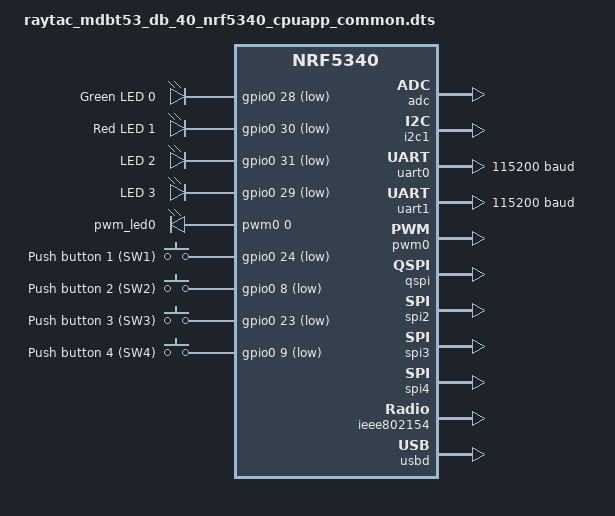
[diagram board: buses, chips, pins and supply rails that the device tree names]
/*
 * Copyright (c) 2023 Raytac Corporation
 *
 * SPDX-License-Identifier: Apache-2.0
 */
#include "raytac_mdbt53_db_40_nrf5340_cpuapp_common-pinctrl.dtsi"
#include <zephyr/dt-bindings/input/input-event-codes.h>

/ {

	chosen {
		zephyr,console = &uart0;
		zephyr,shell-uart = &uart0;
		zephyr,uart-mcumgr = &uart0;
		zephyr,bt-mon-uart = &uart0;
		zephyr,bt-c2h-uart = &uart0;
		zephyr,bt-hci-rpmsg-ipc = &ipc0;
		nordic,802154-spinel-ipc = &ipc0;
		zephyr,ieee802154 = &ieee802154;
	};

	leds {
		compatible = "gpio-leds";
		led0: led_0 {
			gpios = <&gpio0 28 GPIO_ACTIVE_LOW>;
			label = "Green LED 0";
		};
		led1: led_1 {
			gpios = <&gpio0 30 GPIO_ACTIVE_LOW>;
			label = "Red LED 1";
		};
		led2: led_2 {
			gpios = <&gpio0 31 GPIO_ACTIVE_LOW>;
			label = "LED 2";
		};
		led3: led_3 {
			gpios = <&gpio0 29 GPIO_ACTIVE_LOW>;
			label = "LED 3";
		};
	};

	pwmleds {
		compatible = "pwm-leds";
		pwm_led0: pwm_led_0 {
			pwms = <&pwm0 0 PWM_MSEC(20) PWM_POLARITY_INVERTED>;
		};
	};

	buttons {
		compatible = "gpio-keys";
		button0: button_0 {
			gpios = <&gpio0 24 (GPIO_PULL_UP | GPIO_ACTIVE_LOW)>;
			label = "Push button 1 (SW1)";
			zephyr,code = <INPUT_KEY_0>;
		};
		button1: button_1 {
			gpios = <&gpio0 8 (GPIO_PULL_UP | GPIO_ACTIVE_LOW)>;
			label = "Push button 2 (SW2)";
			zephyr,code = <INPUT_KEY_1>;
		};
		button2: button_2 {
			gpios = <&gpio0 23 (GPIO_PULL_UP | GPIO_ACTIVE_LOW)>;
			label = "Push button 3 (SW3)";
			zephyr,code = <INPUT_KEY_2>;
		};
		button3: button_3 {
			gpios = <&gpio0 9 (GPIO_PULL_UP | GPIO_ACTIVE_LOW)>;
			label = "Push button 4 (SW4)";
			zephyr,code = <INPUT_KEY_3>;
		};
	};

	gpio_fwd: nrf-gpio-forwarder {
		compatible = "nordic,nrf-gpio-forwarder";
		status = "okay";
		uart {
			gpios = <&gpio1 1 0>, <&gpio1 0 0>, <&gpio0 11 0>, <&gpio0 10 0>;
		};
	};

	/* These aliases are provided for compatibility with samples */
	aliases {
		led0 = &led0;
		led1 = &led1;
		led2 = &led2;
		led3 = &led3;
		pwm-led0 = &pwm_led0;
		sw0 = &button0;
		sw1 = &button1;
		sw2 = &button2;
		sw3 = &button3;
		bootloader-led0 = &led0;
		mcuboot-button0 = &button0;
		mcuboot-led0 = &led0;
		watchdog0 = &wdt0;
	};
};

&adc {
	status = "okay";
};

&gpiote {
	status = "okay";
};

&gpio0 {
	status = "okay";
};

&gpio1 {
	status = "okay";
};

&i2c1 {
	compatible = "nordic,nrf-twim";
	status = "okay";
	pinctrl-0 = <&i2c1_default>;
	pinctrl-1 = <&i2c1_sleep>;
	pinctrl-names = "default", "sleep";
};

&uart0 {
	status = "okay";
	current-speed = <115200>;
	pinctrl-0 = <&uart0_default>;
	pinctrl-1 = <&uart0_sleep>;
	pinctrl-names = "default", "sleep";
};

&uart1 {
	compatible = "nordic,nrf-uarte";
	current-speed = <115200>;
	pinctrl-0 = <&uart1_default>;
	pinctrl-1 = <&uart1_sleep>;
	pinctrl-names = "default", "sleep";
};

&pwm0 {
	status = "okay";
	pinctrl-0 = <&pwm0_default>;
	pinctrl-1 = <&pwm0_sleep>;
	pinctrl-names = "default", "sleep";
};

&qspi {
	status = "okay";
	pinctrl-0 = <&qspi_default>;
	pinctrl-1 = <&qspi_sleep>;
	pinctrl-names = "default", "sleep";
};

&spi2 {
	compatible = "nordic,nrf-spim";
	status = "okay";
	cs-gpios = <&gpio0 25 GPIO_ACTIVE_LOW>;

	pinctrl-0 = <&spi2_default>;
	pinctrl-1 = <&spi2_sleep>;
	pinctrl-names = "default", "sleep";
};

&spi3 {
	compatible = "nordic,nrf-spim";
	status = "okay";
	cs-gpios = <&gpio1 12 GPIO_ACTIVE_LOW>;

	pinctrl-0 = <&spi3_default>;
	pinctrl-1 = <&spi3_sleep>;
	pinctrl-names = "default", "sleep";
};

&spi4 {
	compatible = "nordic,nrf-spim";
	status = "okay";
	cs-gpios = <&gpio0 11 GPIO_ACTIVE_LOW>;

	pinctrl-0 = <&spi4_default>;
	pinctrl-1 = <&spi4_sleep>;
	pinctrl-names = "default", "sleep";
};

&flash0 {

	partitions {
		compatible = "fixed-partitions";
		#address-cells = <1>;
		#size-cells = <1>;

		boot_partition: partition@0 {
			label = "mcuboot";
			reg = <0x00000000 0x00010000>;
		};
		slot0_partition: partition@10000 {
			label = "image-0";
		};
		slot0_ns_partition: partition@50000 {
			label = "image-0-nonsecure";
		};
		slot1_partition: partition@80000 {
			label = "image-1";
		};
		slot1_ns_partition: partition@c0000 {
			label = "image-1-nonsecure";
		};
	};
};

&ieee802154 {
	status = "okay";
};

zephyr_udc0: &usbd {
	compatible = "nordic,nrf-usbd";
	status = "okay";
};

/ {

	reserved-memory {
		#address-cells = <1>;
		#size-cells = <1>;
		ranges;

		sram0_image: image@20000000 {
			/* Zephyr image(s) memory */
		};

		sram0_s: image_s@20000000 {
			/* Secure image memory */
		};

		sram0_ns: image_ns@20040000 {
			/* Non-Secure image memory */
		};
	};
};

/* Include partition configuration file */
#include "raytac_mdbt53_db_40_nrf5340_cpuapp_partition_conf.dts"
